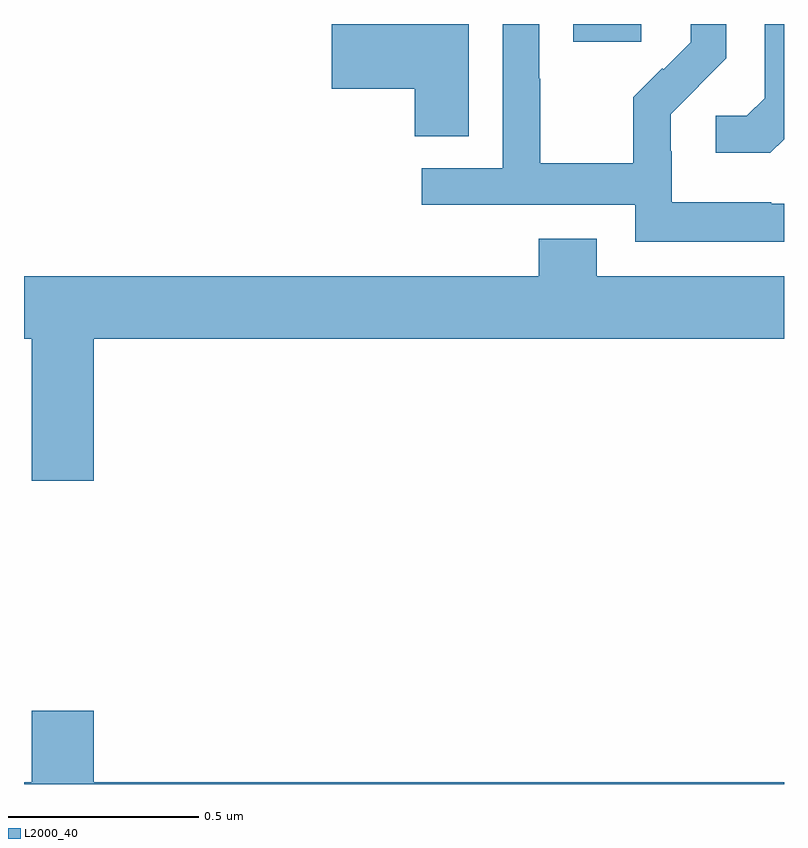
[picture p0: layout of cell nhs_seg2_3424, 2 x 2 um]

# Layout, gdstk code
import gdstk
lib = gdstk.Library(unit=1e-6, precision=1e-09)
def R(c, l, rs):  # rectangles x0, y0, x1, y1
    for r in rs: c.add(gdstk.rectangle(r[:2], r[2:], *l))
def P(c, l, *ps):  # polygons
    for p in ps: c.add(gdstk.Polygon(p, *l))
L2000_40 = (2000, 40)

nhs_seg2_3424 = lib.new_cell('nhs_seg2_3424')
R(nhs_seg2_3424, L2000_40, [(154.445,645.753,154.624,645.8)])
P(nhs_seg2_3424, L2000_40, [(154.171,645.8),(153.81,645.8),(153.81,645.629),(154.028,645.629),(154.028,645.505),(154.171,645.505)],
  [(155,645.327),(154.967,645.327),(154.967,645.331),(154.704,645.331),(154.704,645.465),(154.702,645.465),(154.702,645.562),(154.776,645.636),(154.775,645.637),(154.848,645.71),(154.848,645.8),(154.754,645.8),(154.754,645.752),(154.683,645.681),(154.68,645.684),(154.603,645.607),(154.603,645.433),(154.359,645.433),(154.359,645.656),(154.356,645.656),(154.356,645.8),(154.26,645.8),(154.26,645.42),(154.047,645.42),(154.047,645.324),(154.608,645.324),(154.608,645.227),(155,645.227)],
  [(155,645.497),(155,645.8),(154.949,645.8),(154.949,645.605),(154.902,645.558),(154.821,645.558),(154.821,645.461),(154.964,645.461)],
  [(153.184,644.972),(155,644.972),(155,645.136),(154.507,645.136),(154.507,645.235),(154.355,645.235),(154.355,645.136),(153,645.136),(153,644.972),(153.02,644.972),(153.02,644.598),(153.184,644.598)],
  [(155,643.804),(153.184,643.804),(153.184,643.993),(153.02,643.993),(153.02,643.804),(153,643.804),(153,643.8),(155,643.8)])

lib.write_gds('nhs_seg2_3424.gds')
